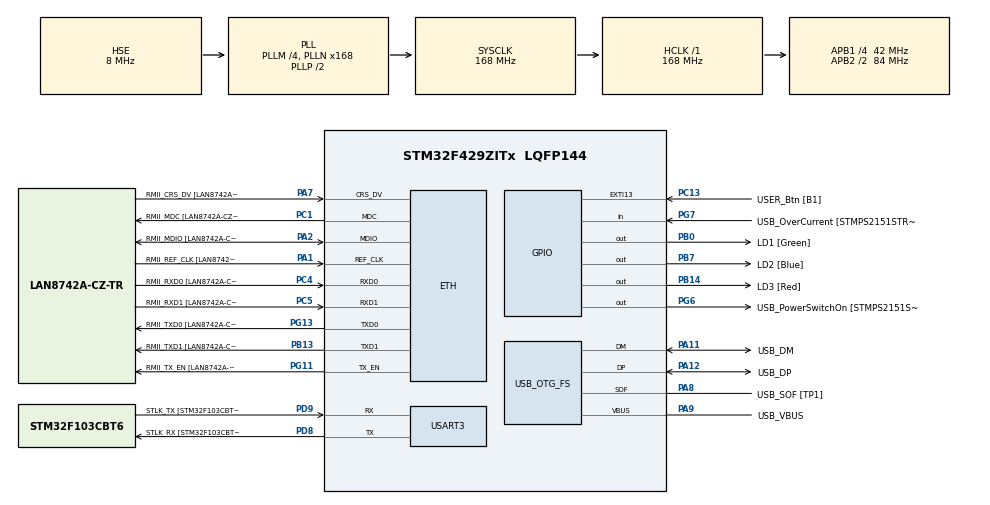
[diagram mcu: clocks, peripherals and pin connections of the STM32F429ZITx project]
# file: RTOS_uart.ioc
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ETH.MediaInterface=HAL_ETH_RMII_MODE
ETH.PHY_Name=LAN8742A_PHY_ADDRESS
ETH.PHY_Value=0
ETH.PhyAddress=0
FREERTOS.Tasks01=defaultTask,24,128,StartDefaultTask,Default,NULL,Dynamic,NULL,NULL
Mcu.Family=STM32F4
Mcu.Name=STM32F429ZITx
Mcu.Package=LQFP144
NVIC.PriorityGroup=NVIC_PRIORITYGROUP_4
PA1.GPIO_Label=RMII_REF_CLK [LAN8742A-CZ-TR_REFCLK0]
PA1.Mode=RMII
PA1.Signal=ETH_REF_CLK
PA10.GPIO_Label=USB_ID
PA10.Signal=USB_OTG_FS_ID
PA11.GPIO_Label=USB_DM
PA11.Mode=Device_Only
PA11.Signal=USB_OTG_FS_DM
PA12.GPIO_Label=USB_DP
PA12.Mode=Device_Only
PA12.Signal=USB_OTG_FS_DP
PA13.GPIO_Label=TMS
PA13.Mode=Serial_Wire
PA13.Signal=SYS_JTMS-SWDIO
PA14.GPIO_Label=TCK
PA14.Mode=Serial_Wire
PA14.Signal=SYS_JTCK-SWCLK
PA2.GPIO_Label=RMII_MDIO [LAN8742A-CZ-TR_MDIO]
PA2.Mode=RMII
PA2.Signal=ETH_MDIO
PA7.GPIO_Label=RMII_CRS_DV [LAN8742A-CZ-TR_CRS_DV]
PA7.Mode=RMII
PA7.Signal=ETH_CRS_DV
PA8.GPIO_Label=USB_SOF [TP1]
PA8.Mode=Activate_SOF_FS
PA8.Signal=USB_OTG_FS_SOF
PA9.GPIO_Label=USB_VBUS
PA9.Mode=Activate_VBUS
PA9.Signal=USB_OTG_FS_VBUS
PB0.GPIO_Label=LD1 [Green]
PB0.Signal=GPIO_Output
PB13.GPIO_Label=RMII_TXD1 [LAN8742A-CZ-TR_TXD1]
PB13.Mode=RMII
PB13.Signal=ETH_TXD1
PB14.GPIO_Label=LD3 [Red]
PB14.Signal=GPIO_Output
PB7.GPIO_Label=LD2 [Blue]
PB7.Signal=GPIO_Output
PC1.GPIO_Label=RMII_MDC [LAN8742A-CZ-TR_MDC]
PC1.Mode=RMII
PC1.Signal=ETH_MDC
PC13.GPIO_Label=USER_Btn [B1]
PC13.Signal=GPXTI13
PC14/OSC32_IN.Mode=LSE-External-Oscillator
PC14/OSC32_IN.Signal=RCC_OSC32_IN
PC15/OSC32_OUT.Mode=LSE-External-Oscillator
PC15/OSC32_OUT.Signal=RCC_OSC32_OUT
PC4.GPIO_Label=RMII_RXD0 [LAN8742A-CZ-TR_RXD0]
PC4.Mode=RMII
PC4.Signal=ETH_RXD0
PC5.GPIO_Label=RMII_RXD1 [LAN8742A-CZ-TR_RXD1]
PC5.Mode=RMII
PC5.Signal=ETH_RXD1
PD8.GPIO_Label=STLK_RX [STM32F103CBT6_PA3]
PD8.Mode=Asynchronous
PD8.Signal=USART3_TX
PD9.GPIO_Label=STLK_TX [STM32F103CBT6_PA2]
PD9.Mode=Asynchronous
PD9.Signal=USART3_RX
PG11.GPIO_Label=RMII_TX_EN [LAN8742A-CZ-TR_TXEN]
PG11.Mode=RMII
PG11.Signal=ETH_TX_EN
PG13.GPIO_Label=RMII_TXD0 [LAN8742A-CZ-TR_TXD0]
PG13.Mode=RMII
PG13.Signal=ETH_TXD0
PG6.GPIO_Label=USB_PowerSwitchOn [STMPS2151STR_EN]
PG6.Signal=GPIO_Output
PG7.GPIO_Label=USB_OverCurrent [STMPS2151STR_FAULT]
PG7.Signal=GPIO_Input
PH0/OSC_IN.GPIO_Label=MCO [STM32F103CBT6_PA8]
PH0/OSC_IN.Mode=HSE-External-Clock-Source
PH0/OSC_IN.Signal=RCC_OSC_IN
PH1/OSC_OUT.Mode=HSE-External-Clock-Source
PH1/OSC_OUT.Signal=RCC_OSC_OUT
ProjectManager.HeapSize=0x200
ProjectManager.StackSize=0x400
ProjectManager.TargetToolchain=STM32CubeIDE
RCC.48MHZClocksFreq_Value=48000000
RCC.AHBFreq_Value=168000000
RCC.APB1CLKDivider=RCC_HCLK_DIV4
RCC.APB1Freq_Value=42000000
RCC.APB1TimFreq_Value=84000000
RCC.APB2CLKDivider=RCC_HCLK_DIV2
RCC.APB2Freq_Value=84000000
RCC.APB2TimCLKDivider=2
RCC.APB2TimFreq_Value=168000000
RCC.CortexFreq_Value=168000000
RCC.HCLKFreq_Value=168000000
RCC.HSE_VALUE=8000000
RCC.HSI_VALUE=16000000
RCC.PLLM=4
RCC.PLLMUL=RCC_PLL_MUL9
RCC.PLLN=168
RCC.PLLQ=7
RCC.PRESCALERUSB=RCC_USBCLKSOURCE_PLL_DIV1_5
RCC.SYSCLKFreq_VALUE=168000000
RCC.SYSCLKSource=RCC_SYSCLKSOURCE_PLLCLK
RCC.SYSCLKSourceVirtual=RCC_SYSCLKSOURCE_PLLCLK
RCC.USBFreq_Value=48000000
RCC.VCOOutputFreq_Value=336000000
USART3.VirtualMode=VM_ASYNC
USB_OTG_FS.VirtualMode=Device_Only
VP_FREERTOS_VS_CMSIS_V2.Mode=CMSIS_V2
board=NUCLEO-F429ZI

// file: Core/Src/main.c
/* USER CODE BEGIN Header */
/**
  ******************************************************************************
  * @file           : main.c
  * @brief          : Main program body
  ******************************************************************************
  * @attention
  *
  * Copyright (c) 2026 STMicroelectronics.
  * All rights reserved.
  *
  * This software is licensed under terms that can be found in the LICENSE file
  * in the root directory of this software component.
  * If no LICENSE file comes with this software, it is provided AS-IS.
  *
  ******************************************************************************
  */
/* USER CODE END Header */
#include "main.h"
#include "string.h"
#include "cmsis_os.h"

/* USER CODE BEGIN Includes */
#include "FreeRTOS.h"
#include "queue.h"
#include "semphr.h"
#include "shm.h"
#include "uart.h"
#include "math.h"
/* USER CODE END Includes */

ETH_TxPacketConfig TxConfig;
ETH_DMADescTypeDef  DMARxDscrTab[ETH_RX_DESC_CNT]; /* Ethernet Rx DMA Descriptors */
ETH_DMADescTypeDef  DMATxDscrTab[ETH_TX_DESC_CNT]; /* Ethernet Tx DMA Descriptors */

ETH_HandleTypeDef heth;

UART_HandleTypeDef huart3;

PCD_HandleTypeDef hpcd_USB_OTG_FS;

/* Definitions for defaultTask */
osThreadId_t defaultTaskHandle;
const osThreadAttr_t defaultTask_attributes = {
  .name = "defaultTask",
  .stack_size = 128 * 4,
  .priority = (osPriority_t) osPriorityNormal,
};

void SystemClock_Config(void);
static void MX_GPIO_Init(void);
static void MX_ETH_Init(void);
static void MX_USART3_UART_Init(void);
static void MX_USB_OTG_FS_PCD_Init(void);
void StartDefaultTask(void *argument);

/* USER CODE BEGIN PFP */
void StartUARTTask(void *argument);
/* USER CODE END PFP */

/* USER CODE BEGIN 0 */
SystemSharedData_t RPi_Shared_Data;
SemaphoreHandle_t  shm_mutex = NULL;
/* USER CODE END 0 */

int main(void)
{

  /* MCU Configuration--------------------------------------------------------*/

  /* Reset of all peripherals, Initializes the Flash interface and the Systick. */
  HAL_Init();

  /* Configure the system clock */
  SystemClock_Config();

  /* Initialize all configured peripherals */
  MX_GPIO_Init();
  MX_ETH_Init();
  MX_USART3_UART_Init();
  MX_USB_OTG_FS_PCD_Init();
  /* USER CODE BEGIN 2 */
    UART_Task_Init(); // 하드웨어 및 NVIC 초기화

	shm_mutex = xSemaphoreCreateMutex();
	if (shm_mutex == NULL) {
		while(1);
	}

	// 초기 데이터 설정
	RPi_Shared_Data.module_type  = MODULE_COLD_CHAIN;
	RPi_Shared_Data.module_id    = (uint32_t)2026;
	RPi_Shared_Data.reported_power_w  = 45.5f;
	RPi_Shared_Data.pressure_value    = 101.5f;
	RPi_Shared_Data.current_speed_rpm = 15.5f;
	RPi_Shared_Data.current_temp_c    = 4.5f;
	RPi_Shared_Data.warning_flag = 1;
  /* USER CODE END 2 */

  /* Init scheduler */
  osKernelInitialize();

  /* Create the thread(s) */
  /* creation of defaultTask */
  defaultTaskHandle = osThreadNew(StartDefaultTask, NULL, &defaultTask_attributes);

  /* USER CODE BEGIN RTOS_THREADS */
  TaskHandle_t xUartTaskHandle = NULL;
  xTaskCreate(StartUARTTask, "UART_Task", 512, NULL, osPriorityAboveNormal, &xUartTaskHandle);
  /* USER CODE END RTOS_THREADS */

  /* USER CODE BEGIN RTOS_EVENTS */
  NVIC_SetPriority(USART3_IRQn, 5); // 우선순위 설정 (적절히 조절 가능)
  NVIC_EnableIRQ(USART3_IRQn);
  /* USER CODE END RTOS_EVENTS */

  /* Start scheduler */
  osKernelStart();

  /* We should never get here as control is now taken by the scheduler */

  /* Infinite loop */
  while (1)
  {

  }
}

void SystemClock_Config(void)
{
  RCC_OscInitTypeDef RCC_OscInitStruct = {0};
  RCC_ClkInitTypeDef RCC_ClkInitStruct = {0};

  /** Configure the main internal regulator output voltage
  */
  __HAL_RCC_PWR_CLK_ENABLE();
  __HAL_PWR_VOLTAGESCALING_CONFIG(PWR_REGULATOR_VOLTAGE_SCALE1);

  /** Initializes the RCC Oscillators according to the specified parameters
  * in the RCC_OscInitTypeDef structure.
  */
  RCC_OscInitStruct.OscillatorType = RCC_OSCILLATORTYPE_HSE;
  RCC_OscInitStruct.HSEState = RCC_HSE_BYPASS;
  RCC_OscInitStruct.PLL.PLLState = RCC_PLL_ON;
  RCC_OscInitStruct.PLL.PLLSource = RCC_PLLSOURCE_HSE;
  RCC_OscInitStruct.PLL.PLLM = 4;
  RCC_OscInitStruct.PLL.PLLN = 168;
  RCC_OscInitStruct.PLL.PLLP = RCC_PLLP_DIV2;
  RCC_OscInitStruct.PLL.PLLQ = 7;
  if (HAL_RCC_OscConfig(&RCC_OscInitStruct) != HAL_OK)
  {
    Error_Handler();
  }

  /** Initializes the CPU, AHB and APB buses clocks
  */
  RCC_ClkInitStruct.ClockType = RCC_CLOCKTYPE_HCLK|RCC_CLOCKTYPE_SYSCLK
                              |RCC_CLOCKTYPE_PCLK1|RCC_CLOCKTYPE_PCLK2;
  RCC_ClkInitStruct.SYSCLKSource = RCC_SYSCLKSOURCE_PLLCLK;
  RCC_ClkInitStruct.AHBCLKDivider = RCC_SYSCLK_DIV1;
  RCC_ClkInitStruct.APB1CLKDivider = RCC_HCLK_DIV4;
  RCC_ClkInitStruct.APB2CLKDivider = RCC_HCLK_DIV2;

  if (HAL_RCC_ClockConfig(&RCC_ClkInitStruct, FLASH_LATENCY_5) != HAL_OK)
  {
    Error_Handler();
  }
}

static void MX_ETH_Init(void)
{

   static uint8_t MACAddr[6];

  heth.Instance = ETH;
  MACAddr[0] = 0x00;
  MACAddr[1] = 0x80;
  MACAddr[2] = 0xE1;
  MACAddr[3] = 0x00;
  MACAddr[4] = 0x00;
  MACAddr[5] = 0x00;
  heth.Init.MACAddr = &MACAddr[0];
  heth.Init.MediaInterface = HAL_ETH_RMII_MODE;
  heth.Init.TxDesc = DMATxDscrTab;
  heth.Init.RxDesc = DMARxDscrTab;
  heth.Init.RxBuffLen = 1524;

  if (HAL_ETH_Init(&heth) != HAL_OK)
  {
    Error_Handler();
  }

  memset(&TxConfig, 0 , sizeof(ETH_TxPacketConfig));
  TxConfig.Attributes = ETH_TX_PACKETS_FEATURES_CSUM | ETH_TX_PACKETS_FEATURES_CRCPAD;
  TxConfig.ChecksumCtrl = ETH_CHECKSUM_IPHDR_PAYLOAD_INSERT_PHDR_CALC;
  TxConfig.CRCPadCtrl = ETH_CRC_PAD_INSERT;

}

static void MX_USART3_UART_Init(void)
{

  huart3.Instance = USART3;
  huart3.Init.BaudRate = 115200;
  huart3.Init.WordLength = UART_WORDLENGTH_8B;
  huart3.Init.StopBits = UART_STOPBITS_1;
  huart3.Init.Parity = UART_PARITY_NONE;
  huart3.Init.Mode = UART_MODE_TX_RX;
  huart3.Init.HwFlowCtl = UART_HWCONTROL_NONE;
  huart3.Init.OverSampling = UART_OVERSAMPLING_16;
  if (HAL_UART_Init(&huart3) != HAL_OK)
  {
    Error_Handler();
  }

}

static void MX_USB_OTG_FS_PCD_Init(void)
{

  hpcd_USB_OTG_FS.Instance = USB_OTG_FS;
  hpcd_USB_OTG_FS.Init.dev_endpoints = 4;
  hpcd_USB_OTG_FS.Init.speed = PCD_SPEED_FULL;
  hpcd_USB_OTG_FS.Init.dma_enable = DISABLE;
  hpcd_USB_OTG_FS.Init.phy_itface = PCD_PHY_EMBEDDED;
  hpcd_USB_OTG_FS.Init.Sof_enable = ENABLE;
  hpcd_USB_OTG_FS.Init.low_power_enable = DISABLE;
  hpcd_USB_OTG_FS.Init.lpm_enable = DISABLE;
  hpcd_USB_OTG_FS.Init.vbus_sensing_enable = ENABLE;
  hpcd_USB_OTG_FS.Init.use_dedicated_ep1 = DISABLE;
  if (HAL_PCD_Init(&hpcd_USB_OTG_FS) != HAL_OK)
  {
    Error_Handler();
  }

}

static void MX_GPIO_Init(void)
{
  GPIO_InitTypeDef GPIO_InitStruct = {0};

  /* GPIO Ports Clock Enable */
  __HAL_RCC_GPIOC_CLK_ENABLE();
  __HAL_RCC_GPIOH_CLK_ENABLE();
  __HAL_RCC_GPIOA_CLK_ENABLE();
  __HAL_RCC_GPIOB_CLK_ENABLE();
  __HAL_RCC_GPIOD_CLK_ENABLE();
  __HAL_RCC_GPIOG_CLK_ENABLE();

  /*Configure GPIO pin Output Level */
  HAL_GPIO_WritePin(GPIOB, LD1_Pin|LD3_Pin|LD2_Pin, GPIO_PIN_RESET);

  /*Configure GPIO pin Output Level */
  HAL_GPIO_WritePin(USB_PowerSwitchOn_GPIO_Port, USB_PowerSwitchOn_Pin, GPIO_PIN_RESET);

  /*Configure GPIO pin : USER_Btn_Pin */
  GPIO_InitStruct.Pin = USER_Btn_Pin;
  GPIO_InitStruct.Mode = GPIO_MODE_IT_RISING;
  GPIO_InitStruct.Pull = GPIO_NOPULL;
  HAL_GPIO_Init(USER_Btn_GPIO_Port, &GPIO_InitStruct);

  /*Configure GPIO pins : LD1_Pin LD3_Pin LD2_Pin */
  GPIO_InitStruct.Pin = LD1_Pin|LD3_Pin|LD2_Pin;
  GPIO_InitStruct.Mode = GPIO_MODE_OUTPUT_PP;
  GPIO_InitStruct.Pull = GPIO_NOPULL;
  GPIO_InitStruct.Speed = GPIO_SPEED_FREQ_LOW;
  HAL_GPIO_Init(GPIOB, &GPIO_InitStruct);

  /*Configure GPIO pin : USB_PowerSwitchOn_Pin */
  GPIO_InitStruct.Pin = USB_PowerSwitchOn_Pin;
  GPIO_InitStruct.Mode = GPIO_MODE_OUTPUT_PP;
  GPIO_InitStruct.Pull = GPIO_NOPULL;
  GPIO_InitStruct.Speed = GPIO_SPEED_FREQ_LOW;
  HAL_GPIO_Init(USB_PowerSwitchOn_GPIO_Port, &GPIO_InitStruct);

  /*Configure GPIO pin : USB_OverCurrent_Pin */
  GPIO_InitStruct.Pin = USB_OverCurrent_Pin;
  GPIO_InitStruct.Mode = GPIO_MODE_INPUT;
  GPIO_InitStruct.Pull = GPIO_NOPULL;
  HAL_GPIO_Init(USB_OverCurrent_GPIO_Port, &GPIO_InitStruct);

}

void StartDefaultTask(void *argument)
{
  /* USER CODE BEGIN 5 */

  // 디버깅용 내부 변수 초기화
  uint32_t debug_counter = 0;
  float time_elapsed = 0.0f;
  const float TIME_STEP = 0.05f; // 50ms 기준 시간 증가량

  /* Infinite loop */
  for(;;)
  {
    // 1. 뮤텍스를 획득하여 데이터 오염 방지 (타임아웃 10ms)
    if (osMutexAcquire(shm_mutex, 10) == osOK)
    {
      // [1] 시퀀스 카운터 및 ID 업데이트 (패킷 유실 확인용)
    	RPi_Shared_Data.module_id = debug_counter++;

      // [2] 아날로그 데이터 시뮬레이션 (사인파를 이용한 부드러운 파형 생성)
      // 예: 온도를 20.0~30.0℃ 사이에서 왕복 변경
    	RPi_Shared_Data.current_temp_c = 25.0f + 5.0f * sinf(time_elapsed);

      // 예: 압력을 1000.0~1050.0 hPa 사이에서 왕복 변경 (위상차 적용)
    	RPi_Shared_Data.pressure_value = 1025.0f + 25.0f * sinf(time_elapsed + 1.57f);

      // 예: RPM을 0 ~ 3000 사이에서 서서히 증가 및 초기화
    	RPi_Shared_Data.current_speed_rpm = (float)((debug_counter * 50) % 3000);

      // [3] 디지털 상태 및 플래그 토글 (100회 주기로 상태 변경)
      if ((debug_counter % 100) == 0)
      {
    	  RPi_Shared_Data.warning_flag ^= 0x01; // XOR 연산으로 0과 1 토글
      }

      // [4] 전력 데이터 계산 (가상 연산)
      RPi_Shared_Data.reported_power_w = (RPi_Shared_Data.current_speed_rpm / 3000.0f) * 150.0f;

      // 뮤텍스 해제 (다른 송수신 태스크가 접근할 수 있도록 허용)
      osMutexRelease(shm_mutex);
    }

    // 시간 변수 업데이트
    time_elapsed += TIME_STEP;
    if (time_elapsed > 628.318f) // 약 100*2Pi 이후 오버플로 방지용 리셋
    {
      time_elapsed = 0.0f;
    }

    // [중요] 1ms(osDelay(1))는 데이터 업데이트 및 통신 주기로 너무 빠릅니다.
    // 다른 UART/CAN 송신 태스크의 주기에 맞추거나, CPU 점유율을 위해 50ms 주기로 변경을 권장합니다.
    osDelay(50);
  }
  /* USER CODE END 5 */
}

void Error_Handler(void)
{
  __disable_irq();
  while (1)
  {
  }
}
